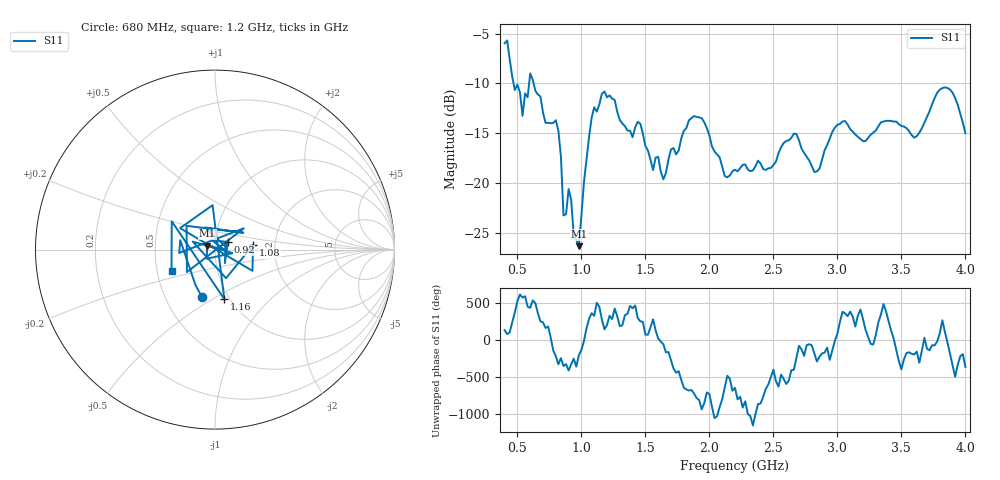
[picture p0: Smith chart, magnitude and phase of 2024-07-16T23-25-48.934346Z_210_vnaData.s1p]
!Created with skrf (http://scikit-rf.org).
# Hz S RI R 50.0
!freq ReS11 ImS11
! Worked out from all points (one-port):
!   181 points, 400 MHz to 4 GHz, reference 50 ohm
!   lowest |S11| = -26.3 dB at 980 MHz (marker M1), VSWR 1.10, Z = 45.8 + j1.98 ohm
!   |S11| at or under -10 dB: 469.8 MHz to 591.7 MHz (121.9 MHz wide, 23 % of centre); 626.6 MHz to end of sweep
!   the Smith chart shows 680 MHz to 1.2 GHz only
!   S11 on the Smith chart (normalised r, x): 680 MHz: 0.76, -0.43; 920 MHz: 1.15, +0.10; 1.08 GHz: 1.53, +0.08; 1.16 GHz: 0.94, -0.57; 1.2 GHz: 0.60, -0.15
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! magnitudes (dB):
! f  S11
! 400 MHz  -6.0
! 540 MHz  -13.2
! 600 MHz  -9.0
! 680 MHz  -11.3
! 720 MHz  -14.0
! 820 MHz  -14.7
! 860 MHz  -23.2
! 920 MHz  -21.7
! 940 MHz  -25.3
! 980 MHz  -26.3
! 1.08 GHz  -13.4
! 1.16 GHz  -11.0
! 1.2 GHz  -11.4
! 1.3 GHz  -13.7
! 1.46 GHz  -14.0
! 1.64 GHz  -19.6
! 1.76 GHz  -16.7
! 1.94 GHz  -13.5
! 2.12 GHz  -19.3
! 2.2 GHz  -18.7
! 2.48 GHz  -18.5
! 2.66 GHz  -15.0
! 2.82 GHz  -18.9
! 2.98 GHz  -14.4
! 3.1 GHz  -14.6
! 3.56 GHz  -14.8
! 3.84 GHz  -10.4
! 4 GHz  -15.0
